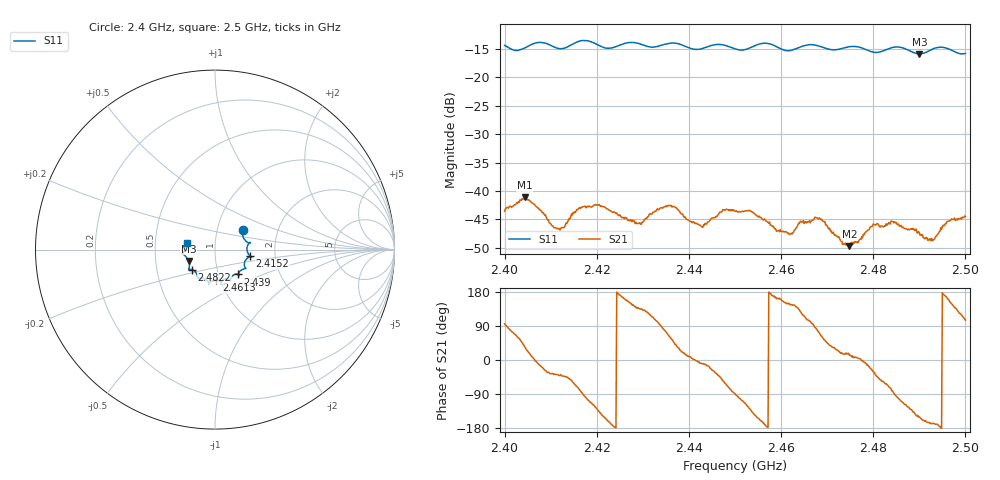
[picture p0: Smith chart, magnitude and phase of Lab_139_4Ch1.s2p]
# Hz S RI R 50
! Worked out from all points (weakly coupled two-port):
!   601 points, 2.4 GHz to 2.5 GHz, reference 50 ohm
!   highest |S21| = -41.15 dB at 2.4043 GHz (marker M1); lowest = -49.7 dB at 2.4748 GHz (marker M2)
!   lowest |S11| = -15.9 dB at 2.49 GHz (marker M3), VSWR 1.38, Z = 36.9 - j4.8 ohm
!   |S11| at or under -10 dB: start of sweep to end of sweep
!   S12 and S22 are empty: the file has one direction only
!   S11 on the Smith chart (normalised r, x): 2.4 GHz: 1.33, +0.30; 2.4152 GHz: 1.48, -0.11; 2.439 GHz: 1.24, -0.35; 2.4613 GHz: 0.96, -0.34; 2.4822 GHz: 0.76, -0.17; 2.5 GHz: 0.73, +0.05
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2.4e9  0.1549 0.1105  -0.000633 0.00661  0 0  0 0
2.404333e9  0.1746 0.0448  0.0071 0.00514  0 0  0 0
2.4115e9  0.1787 0.0142  0.00366 -0.00291  0 0  0 0
2.415167e9  0.1953 -0.0362  0.00291 -0.0059  0 0  0 0
2.416667e9  0.2049 -0.0423  0.000647 -0.00718  0 0  0 0
2.420667e9  0.1826 -0.0461  -0.00553 -0.00499  0 0  0 0
2.429167e9  0.1662 -0.1063  -0.00376 0.00361  0 0  0 0
2.433333e9  0.1318 -0.1328  -0.00104 0.00676  0 0  0 0
2.436167e9  0.1341 -0.1472  0.00422 0.00615  0 0  0 0
2.439e9  0.1276 -0.1383  0.00561 0.00165  0 0  0 0
2.442833e9  0.0918 -0.1525  0.00479 -0.000805  0 0  0 0
2.45e9  0.0684 -0.1636  0.000112 -0.00663  0 0  0 0
2.461333e9  0.00755 -0.1705  -0.00367 0.00228  0 0  0 0
2.466667e9  -0.0332 -0.19  -0.000599 0.0055  0 0  0 0
2.468833e9  -0.0351 -0.1809  0.00256 0.00503  0 0  0 0
2.474833e9  -0.091 -0.1612  0.0032 0.000704  0 0  0 0
2.482167e9  -0.1282 -0.112  0.0026 -0.00407  0 0  0 0
2.483333e9  -0.1395 -0.1104  0.00186 -0.00493  0 0  0 0
2.49e9  -0.1471 -0.0634  -0.0037 -0.00212  0 0  0 0
2.493e9  -0.175 -0.0272  -0.0036 -0.000843  0 0  0 0
2.4965e9  -0.1757 -0.0151  -0.00499 0.00213  0 0  0 0
2.5e9  -0.158 0.034  -0.00157 0.00577  0 0  0 0
